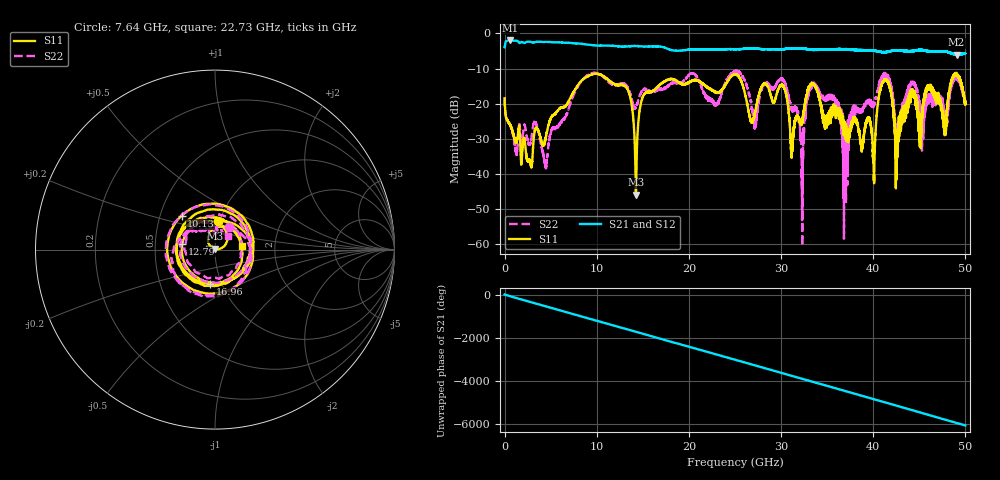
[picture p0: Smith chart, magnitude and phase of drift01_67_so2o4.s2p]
!Created with skrf (http://scikit-rf.org).
# Hz S RI R 50.0
!freq ReS11 ImS11 ReS21 ImS21 ReS12 ImS12 ReS22 ImS22
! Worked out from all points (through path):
!   10001 points, 300 kHz to 50 GHz, reference 50 ohm
!   highest |S21| = -2.00 dB at 625.3 MHz (marker M1); lowest = -6.0 dB at 49.05 GHz (marker M2)
!   group delay of S21, straight-line fit = 336 ps
!   lowest |S11| = -45.8 dB at 14.25 GHz (marker M3), VSWR 1.01, Z = 50.1 + j0.504 ohm
!   |S11| at or under -10 dB: start of sweep to end of sweep
!   |S22| runs from -60.5 to -10.6 dB; largest |S21 - S12| = 0.018
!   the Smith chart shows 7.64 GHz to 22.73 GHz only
!   S11 on the Smith chart (normalised r, x): 7.64 GHz: 0.98, +0.32; 10.13 GHz: 0.64, +0.26; 12.79 GHz: 0.69, +0.05; 16.96 GHz: 0.89, -0.35; 22.73 GHz: 1.34, +0.06
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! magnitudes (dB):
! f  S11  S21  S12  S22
! 300 kHz  -18.5  -4.0  -4.0  -18.2
! 625.3 MHz  -26.1  -2.0  -2.0  -26.1
! 4.445 GHz  -29.7  -2.4  -2.4  -37.7
! 7.64 GHz  -16.0  -2.8  -2.8  -16.7
! 8.335 GHz  -13.5  -2.9  -3.0  -13.5
! 10.13 GHz  -11.5  -3.4  -3.4  -11.4
! 12.79 GHz  -14.6  -3.7  -3.7  -14.3
! 14.25 GHz  -45.8  -3.6  -3.6  -21.1
! 16.67 GHz  -14.9  -3.7  -3.7  -15.9
! 16.96 GHz  -14.3  -3.8  -3.8  -15.7
! 22.73 GHz  -16.5  -4.6  -4.6  -20.1
! 25 GHz  -11.6  -4.5  -4.5  -10.8
! 27.17 GHz  -22.5  -4.3  -4.3  -25.9
! 30.22 GHz  -14.9  -4.5  -4.5  -13.5
! 32.27 GHz  -25.6  -4.4  -4.3  -40.7
! 33.34 GHz  -14.3  -4.6  -4.6  -14.6
! 36.98 GHz  -27.2  -4.5  -4.6  -36.4
! 40.05 GHz  -39.1  -4.9  -4.9  -19.9
! 41.67 GHz  -14.1  -5.1  -5.1  -12.8
! 42.59 GHz  -35.3  -4.8  -4.8  -32.9
! 49.05 GHz  -11.8  -6.0  -6.0  -12.6
! 50 GHz  -19.9  -5.7  -5.8  -19.3
